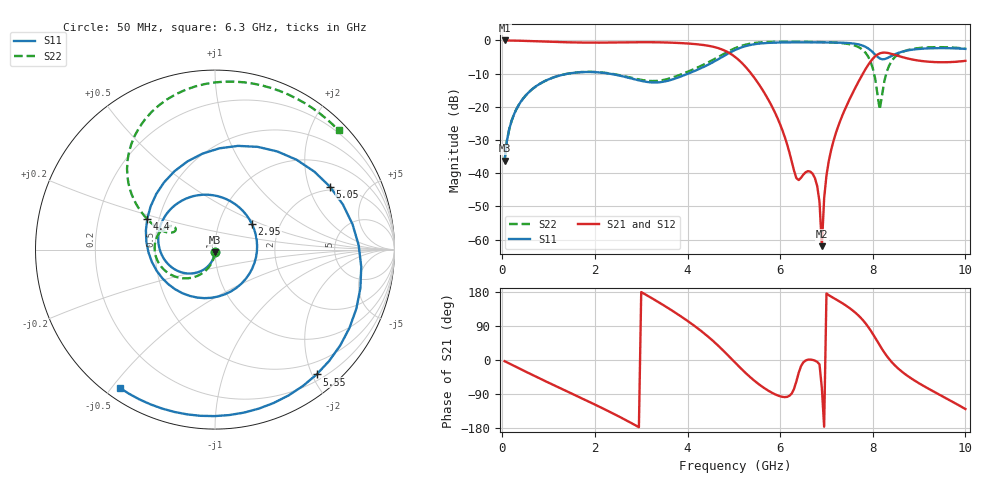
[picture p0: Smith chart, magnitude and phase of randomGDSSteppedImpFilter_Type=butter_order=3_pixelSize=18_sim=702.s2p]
! freq	dB(S11)	phase(S11)	dB(S12)	phase(S12)
!  dB(S21)	phase(S21)	dB(S22)	phase(S22)
!S-par simulation data
#  GHz  S  DB  R 50
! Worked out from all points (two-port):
!   200 points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, 50 MHz to 10 GHz, reference 50 ohm
!   highest |S21| = -0.01 dB at 50 MHz (marker M1); lowest = -62.0 dB at 6.9 GHz (marker M2)
!   |S21| within 3 dB of the highest: start of sweep to 4.793 GHz
!   lowest |S11| = -36.2 dB at 50 MHz (marker M3), VSWR 1.03, Z = 49.9 - j1.54 ohm
!   |S11| at or under -10 dB: start of sweep to 1.425 GHz; 2.308 GHz to 4.014 GHz (1.706 GHz wide, 54 % of centre)
!   |S22| runs from -36.2 to -0.4 dB; largest |S21 - S12| = 0
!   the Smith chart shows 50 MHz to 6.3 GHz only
!   S11 on the Smith chart (normalised r, x): 50 MHz: 1.00, -0.03; 2.95 GHz: 1.44, +0.44; 4.4 GHz: 0.43, +0.18; 5.05 GHz: 1.85, +2.78; 5.55 GHz: 0.29, -2.07; 6.3 GHz: 0.04, -0.52
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0.05  -36.19 -93.1  -0.01 -3.1  -0.01 -3.1  -36.19 -92.5
0.2  -24.27 -103.6  -0.04 -12.3  -0.04 -12.3  -24.26 -101.1
0.5  -16.67 -124.0  -0.14 -30.4  -0.14 -30.4  -16.66 -117.7
1.75  -9.53 151.0  -0.65 -103.0  -0.65 -103.0  -9.49 -178.0
2.95  -12.03 34.6  -0.54 -177.3  -0.54 -177.3  -11.75 150.8
3.4  -12.61 -35.5  -0.57 150.7  -0.57 150.7  -12.10 156.4
3.95  -10.36 -126.9  -0.88 107.4  -0.88 107.4  -9.73 160.0
4.4  -7.64 155.4  -1.49 66.2  -1.49 66.2  -6.94 153.6
4.75  -4.96 87.5  -2.75 27.5  -2.75 27.5  -4.30 142.3
5.05  -2.73 28.7  -5.23 -9.6  -5.23 -9.6  -2.20 125.2
5.55  -0.94 -50.9  -13.39 -64.9  -13.39 -64.9  -0.62 90.0
6.3  -0.58 -124.6  -39.24 -76.0  -39.24 -76.0  -0.38 44.0
6.7  -0.58 -153.2  -40.14 0.3  -40.14 0.3  -0.44 20.8
6.85  -0.58 -163.2  -48.68 -11.7  -48.68 -11.7  -0.48 11.9
6.9  -0.59 -166.4  -61.99 -73.5  -61.99 -73.5  -0.50 8.9
7  -0.60 -173.0  -40.67 175.5  -40.67 175.5  -0.54 2.7
7.25  -0.65 170.6  -26.00 156.8  -26.00 156.8  -0.71 -14.1
7.8  -1.66 129.5  -9.69 103.2  -9.69 103.2  -3.06 -69.7
8.15  -5.42 115.4  -3.90 38.8  -3.90 38.8  -20.82 144.8
8.35  -5.07 121.9  -3.85 3.1  -3.85 3.1  -7.68 29.5
8.9  -2.70 93.7  -5.87 -54.1  -5.87 -54.1  -2.47 -30.6
10  -2.55 19.0  -6.15 -129.4  -6.15 -129.4  -2.49 -97.1
